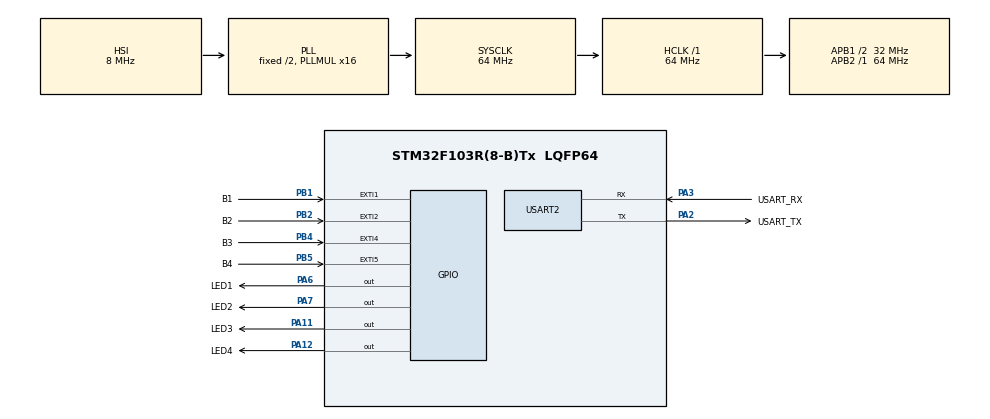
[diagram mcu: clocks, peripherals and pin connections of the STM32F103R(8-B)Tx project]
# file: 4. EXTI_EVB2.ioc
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Mcu.Family=STM32F1
Mcu.Name=STM32F103R(8-B)Tx
Mcu.Package=LQFP64
NVIC.EXTI1_IRQn=true\:4\:0\:true\:false\:true\:true\:true\:true
NVIC.EXTI2_IRQn=true\:3\:0\:true\:false\:true\:true\:true\:true
NVIC.EXTI4_IRQn=true\:2\:0\:true\:false\:true\:true\:true\:true
NVIC.EXTI9_5_IRQn=true\:1\:0\:true\:false\:true\:true\:true\:true
NVIC.PriorityGroup=NVIC_PRIORITYGROUP_4
PA11.GPIO_Label=LED3
PA11.Signal=GPIO_Output
PA12.GPIO_Label=LED4
PA12.Signal=GPIO_Output
PA13.GPIO_Label=TMS
PA13.Mode=Serial_Wire
PA13.Signal=SYS_JTMS-SWDIO
PA14.GPIO_Label=TCK
PA14.Mode=Serial_Wire
PA14.Signal=SYS_JTCK-SWCLK
PA2.GPIO_Label=USART_TX
PA2.GPIO_Mode=GPIO_MODE_AF_PP
PA2.GPIO_PuPd=GPIO_NOPULL
PA2.GPIO_Speed=GPIO_SPEED_FREQ_LOW
PA2.Mode=Asynchronous
PA2.Signal=USART2_TX
PA3.GPIO_Label=USART_RX
PA3.GPIO_Mode=GPIO_MODE_AF_PP
PA3.GPIO_PuPd=GPIO_NOPULL
PA3.GPIO_Speed=GPIO_SPEED_FREQ_LOW
PA3.Mode=Asynchronous
PA3.Signal=USART2_RX
PA6.GPIO_Label=LED1
PA6.Signal=GPIO_Output
PA7.GPIO_Label=LED2
PA7.Signal=GPIO_Output
PB1.GPIO_Label=B1
PB1.Signal=GPXTI1
PB2.GPIO_Label=B2
PB2.Signal=GPXTI2
PB3.GPIO_Label=SWO
PB3.Signal=SYS_JTDO-TRACESWO
PB4.GPIO_Label=B3
PB4.Signal=GPXTI4
PB5.GPIO_Label=B4
PB5.Signal=GPXTI5
PC14-OSC32_IN.Signal=RCC_OSC32_IN
PC15-OSC32_OUT.Signal=RCC_OSC32_OUT
PD0-OSC_IN.Signal=RCC_OSC_IN
PD1-OSC_OUT.Signal=RCC_OSC_OUT
ProjectManager.HeapSize=0x200
ProjectManager.StackSize=0x400
ProjectManager.TargetToolchain=STM32CubeIDE
RCC.AHBFreq_Value=64000000
RCC.APB1CLKDivider=RCC_HCLK_DIV2
RCC.APB1Freq_Value=32000000
RCC.APB1TimFreq_Value=64000000
RCC.APB2Freq_Value=64000000
RCC.APB2TimFreq_Value=64000000
RCC.HCLKFreq_Value=64000000
RCC.PLLMUL=RCC_PLL_MUL16
RCC.RTCClockSelection=RCC_RTCCLKSOURCE_LSE
RCC.SYSCLKFreq_VALUE=64000000
RCC.SYSCLKSource=RCC_SYSCLKSOURCE_PLLCLK
RCC.USBFreq_Value=64000000
USART2.VirtualMode=VM_ASYNC
board=NUCLEO-F103RB

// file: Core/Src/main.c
/* USER CODE BEGIN Header */
/**
  ******************************************************************************
  * @file           : main.c
  * @brief          : Main program body
  ******************************************************************************
  * @attention
  *
  * Copyright (c) 2025 STMicroelectronics.
  * All rights reserved.
  *
  * This software is licensed under terms that can be found in the LICENSE file
  * in the root directory of this software component.
  * If no LICENSE file comes with this software, it is provided AS-IS.
  *
  ******************************************************************************
  */
/* USER CODE END Header */
#include "main.h"

UART_HandleTypeDef huart2;

void SystemClock_Config(void);
static void MX_GPIO_Init(void);
static void MX_USART2_UART_Init(void);

int main(void)
{

  /* MCU Configuration--------------------------------------------------------*/

  /* Reset of all peripherals, Initializes the Flash interface and the Systick. */
  HAL_Init();

  /* Configure the system clock */
  SystemClock_Config();

  /* Initialize all configured peripherals */
  MX_GPIO_Init();
  MX_USART2_UART_Init();

  /* Infinite loop */
  while (1)
  {

  }
}

void SystemClock_Config(void)
{
  RCC_OscInitTypeDef RCC_OscInitStruct = {0};
  RCC_ClkInitTypeDef RCC_ClkInitStruct = {0};

  /** Initializes the RCC Oscillators according to the specified parameters
  * in the RCC_OscInitTypeDef structure.
  */
  RCC_OscInitStruct.OscillatorType = RCC_OSCILLATORTYPE_HSI;
  RCC_OscInitStruct.HSIState = RCC_HSI_ON;
  RCC_OscInitStruct.HSICalibrationValue = RCC_HSICALIBRATION_DEFAULT;
  RCC_OscInitStruct.PLL.PLLState = RCC_PLL_ON;
  RCC_OscInitStruct.PLL.PLLSource = RCC_PLLSOURCE_HSI_DIV2;
  RCC_OscInitStruct.PLL.PLLMUL = RCC_PLL_MUL16;
  if (HAL_RCC_OscConfig(&RCC_OscInitStruct) != HAL_OK)
  {
    Error_Handler();
  }

  /** Initializes the CPU, AHB and APB buses clocks
  */
  RCC_ClkInitStruct.ClockType = RCC_CLOCKTYPE_HCLK|RCC_CLOCKTYPE_SYSCLK
                              |RCC_CLOCKTYPE_PCLK1|RCC_CLOCKTYPE_PCLK2;
  RCC_ClkInitStruct.SYSCLKSource = RCC_SYSCLKSOURCE_PLLCLK;
  RCC_ClkInitStruct.AHBCLKDivider = RCC_SYSCLK_DIV1;
  RCC_ClkInitStruct.APB1CLKDivider = RCC_HCLK_DIV2;
  RCC_ClkInitStruct.APB2CLKDivider = RCC_HCLK_DIV1;

  if (HAL_RCC_ClockConfig(&RCC_ClkInitStruct, FLASH_LATENCY_2) != HAL_OK)
  {
    Error_Handler();
  }
}

static void MX_USART2_UART_Init(void)
{

  huart2.Instance = USART2;
  huart2.Init.BaudRate = 115200;
  huart2.Init.WordLength = UART_WORDLENGTH_8B;
  huart2.Init.StopBits = UART_STOPBITS_1;
  huart2.Init.Parity = UART_PARITY_NONE;
  huart2.Init.Mode = UART_MODE_TX_RX;
  huart2.Init.HwFlowCtl = UART_HWCONTROL_NONE;
  huart2.Init.OverSampling = UART_OVERSAMPLING_16;
  if (HAL_UART_Init(&huart2) != HAL_OK)
  {
    Error_Handler();
  }

}

static void MX_GPIO_Init(void)
{
  GPIO_InitTypeDef GPIO_InitStruct = {0};

  /* GPIO Ports Clock Enable */
  __HAL_RCC_GPIOC_CLK_ENABLE();
  __HAL_RCC_GPIOD_CLK_ENABLE();
  __HAL_RCC_GPIOA_CLK_ENABLE();
  __HAL_RCC_GPIOB_CLK_ENABLE();

  /*Configure GPIO pin Output Level */
  HAL_GPIO_WritePin(GPIOA, LED1_Pin|LED2_Pin|LED3_Pin|LED4_Pin, GPIO_PIN_RESET);

  /*Configure GPIO pins : LED1_Pin LED2_Pin LED3_Pin LED4_Pin */
  GPIO_InitStruct.Pin = LED1_Pin|LED2_Pin|LED3_Pin|LED4_Pin;
  GPIO_InitStruct.Mode = GPIO_MODE_OUTPUT_PP;
  GPIO_InitStruct.Pull = GPIO_NOPULL;
  GPIO_InitStruct.Speed = GPIO_SPEED_FREQ_LOW;
  HAL_GPIO_Init(GPIOA, &GPIO_InitStruct);

  /*Configure GPIO pins : B1_Pin B2_Pin B3_Pin B4_Pin */
  GPIO_InitStruct.Pin = B1_Pin|B2_Pin|B3_Pin|B4_Pin;
  GPIO_InitStruct.Mode = GPIO_MODE_IT_RISING;
  GPIO_InitStruct.Pull = GPIO_NOPULL;
  HAL_GPIO_Init(GPIOB, &GPIO_InitStruct);

  /* EXTI interrupt init*/
  HAL_NVIC_SetPriority(EXTI1_IRQn, 4, 0);
  HAL_NVIC_EnableIRQ(EXTI1_IRQn);

  HAL_NVIC_SetPriority(EXTI2_IRQn, 3, 0);
  HAL_NVIC_EnableIRQ(EXTI2_IRQn);

  HAL_NVIC_SetPriority(EXTI4_IRQn, 2, 0);
  HAL_NVIC_EnableIRQ(EXTI4_IRQn);

  HAL_NVIC_SetPriority(EXTI9_5_IRQn, 1, 0);
  HAL_NVIC_EnableIRQ(EXTI9_5_IRQn);

}

/* USER CODE BEGIN 4 */
void HAL_GPIO_EXTI_Callback(uint16_t GPIO_Pin) {
	switch(GPIO_Pin) {
	case B1_Pin:
		for (int i = 0; i < 10; i++) {
			HAL_GPIO_TogglePin(LED1_GPIO_Port, LED1_Pin);
			HAL_Delay(250);
		}
		break;

	case B2_Pin:
		for (int i = 0; i < 10; i++) {
			HAL_GPIO_TogglePin(LED2_GPIO_Port, LED2_Pin);
			HAL_Delay(250);
		}
		break;

	case B3_Pin:
		for (int i = 0; i < 10; i++) {
			HAL_GPIO_TogglePin(LED3_GPIO_Port, LED3_Pin);
			HAL_Delay(250);
		}
		break;

	case B4_Pin:
		for (int i = 0; i < 10; i++) {
			HAL_GPIO_TogglePin(LED4_GPIO_Port, LED4_Pin);
			HAL_Delay(250);
		}
		break;
	default:
		;
	}
}
/* USER CODE END 4 */

void Error_Handler(void)
{
  __disable_irq();
  while (1)
  {
  }
}
